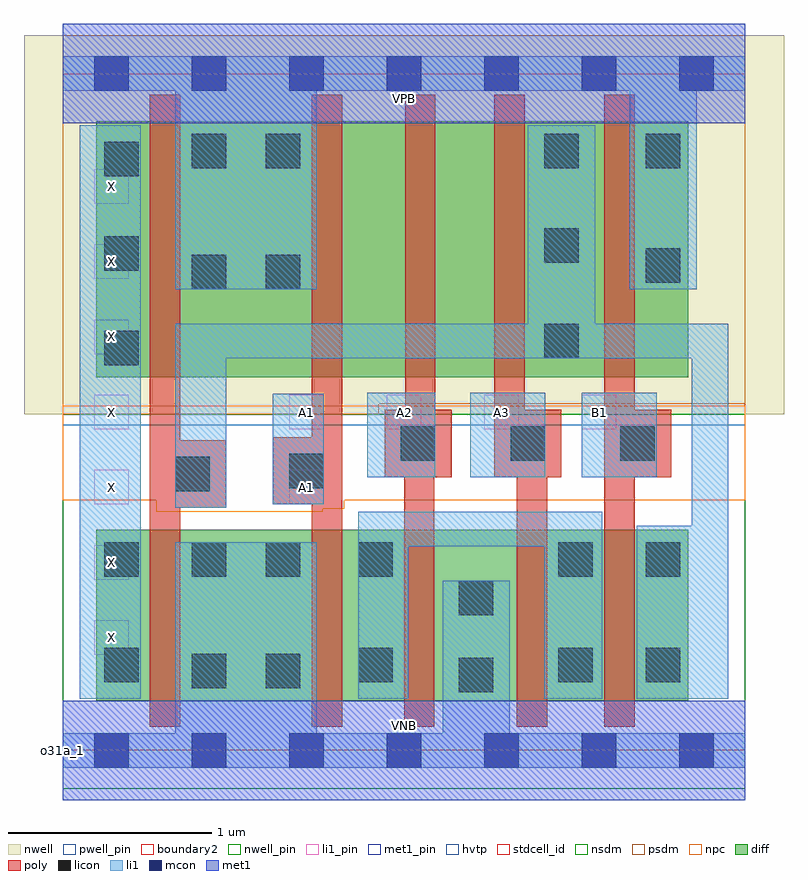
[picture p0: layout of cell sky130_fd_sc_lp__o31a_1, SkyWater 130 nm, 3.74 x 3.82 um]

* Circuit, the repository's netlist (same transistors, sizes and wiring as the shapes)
* Copyright 2020 The SkyWater PDK Authors
*
* Licensed under the Apache License, Version 2.0 (the "License");
* you may not use this file except in compliance with the License.
* You may obtain a copy of the License at
*
*     https://www.apache.org/licenses/LICENSE-2.0
*
* Unless required by applicable law or agreed to in writing, software
* distributed under the License is distributed on an "AS IS" BASIS,
* WITHOUT WARRANTIES OR CONDITIONS OF ANY KIND, either express or implied.
* See the License for the specific language governing permissions and
* limitations under the License.
*
* SPDX-License-Identifier: Apache-2.0

.SUBCKT sky130_fd_sc_lp__o31a_1 A1 A2 A3 B1 VGND VNB VPB VPWR X
*.PININFO A1:I A2:I A3:I B1:I VGND:I VNB:I VPB:I VPWR:I X:O
MMPA0 VPWR A1 sndA1 VPB sky130_fd_pr__pfet_01v8_hvt m=1 w=1.26U l=0.15U mult=1
+ sa=0.265 sb=0.265 sd=0.28 area=0.063 perim=1.14
MMPA1 sndA1 A2 sndA2 VPB sky130_fd_pr__pfet_01v8_hvt m=1 w=1.26U l=0.15U mult=1
+ sa=0.265 sb=0.265 sd=0.28 area=0.063 perim=1.14
MMPA2 sndA2 A3 y VPB sky130_fd_pr__pfet_01v8_hvt m=1 w=1.26U l=0.15U mult=1 sa=0.265
+ sb=0.265 sd=0.28 area=0.063 perim=1.14
MMPB0 VPWR B1 y VPB sky130_fd_pr__pfet_01v8_hvt m=1 w=1.26U l=0.15U mult=1 sa=0.265
+ sb=0.265 sd=0.28 area=0.063 perim=1.14
MMIPX X y VPWR VPB sky130_fd_pr__pfet_01v8_hvt m=1 w=1.26U l=0.15U mult=1 sa=0.265
+ sb=0.265 sd=0.28 area=0.063 perim=1.14
MMNA0 pndA A1 VGND VNB sky130_fd_pr__nfet_01v8 m=1 w=0.84U l=0.15U mult=1 sa=0.265
+ sb=0.265 sd=0.28 area=0.063 perim=1.14
MMNA1 pndA A2 VGND VNB sky130_fd_pr__nfet_01v8 m=1 w=0.84U l=0.15U mult=1 sa=0.265
+ sb=0.265 sd=0.28 area=0.063 perim=1.14
MMNA2 pndA A3 VGND VNB sky130_fd_pr__nfet_01v8 m=1 w=0.84U l=0.15U mult=1 sa=0.265
+ sb=0.265 sd=0.28 area=0.063 perim=1.14
MMNB0 y B1 pndA VNB sky130_fd_pr__nfet_01v8 m=1 w=0.84U l=0.15U mult=1 sa=0.265
+ sb=0.265 sd=0.28 area=0.063 perim=1.14
MMINX X y VGND VNB sky130_fd_pr__nfet_01v8 m=1 w=0.84U l=0.15U mult=1 sa=0.265
+ sb=0.265 sd=0.28 area=0.063 perim=1.14
.ENDS sky130_fd_sc_lp__o31a_1

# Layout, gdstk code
import gdstk
lib = gdstk.Library(unit=1e-6, precision=1e-09)
def R(c, l, rs):  # rectangles x0, y0, x1, y1
    for r in rs: c.add(gdstk.rectangle(r[:2], r[2:], *l))
def A(c, l, x, y, w, h, nx, ny, dx, dy):  # array of equal rectangles
    R(c, l, [(x+i*dx, y+j*dy, x+i*dx+w, y+j*dy+h) for i in range(nx) for j in range(ny)])
def P(c, l, *ps):  # polygons
    for p in ps: c.add(gdstk.Polygon(p, *l))
nwell_pin = (64, 16)
nwell = (64, 20)
diff = (65, 20)
poly = (66, 20)
licon = (66, 44)
li1_pin = (67, 16)
li1 = (67, 20)
mcon = (67, 44)
met1_pin = (68, 16)
met1 = (68, 20)
hvtp = (78, 44)
stdcell_id = (81, 4)
nsdm = (93, 44)
psdm = (94, 20)
npc = (95, 20)
pwell_pin = (122, 16)
boundary2 = (236, 0)

sky130_fd_sc_lp__o31a_1 = lib.new_cell('sky130_fd_sc_lp__o31a_1')
R(sky130_fd_sc_lp__o31a_1, nwell_pin, [(0,3.085,3.36,3.33)])
R(sky130_fd_sc_lp__o31a_1, nwell, [(-0.19,1.655,3.55,3.52)])
R(sky130_fd_sc_lp__o31a_1, diff, [(0.165,0.245,3.08,1.085), (0.165,1.835,3.08,3.095)])
P(sky130_fd_sc_lp__o31a_1, poly, [(1.375,3.225),(1.225,3.225),(1.225,1.54),(1.035,1.54),(1.035,1.21),(1.225,1.21),(1.225,0.115),(1.375,0.115)],
  [(0.805,1.525),(0.58,1.525),(0.58,3.225),(0.43,3.225),(0.43,0.115),(0.58,0.115),(0.58,1.195),(0.805,1.195)],
  [(2.455,1.675),(2.275,1.675),(2.275,3.225),(2.125,3.225),(2.125,1.345),(2.235,1.345),(2.235,0.115),(2.385,0.115),(2.385,1.345),(2.455,1.345)],
  [(2.995,1.675),(2.815,1.675),(2.815,3.225),(2.665,3.225),(2.665,0.115),(2.815,0.115),(2.815,1.345),(2.995,1.345)],
  [(1.915,1.675),(1.835,1.675),(1.835,3.225),(1.685,3.225),(1.685,1.675),(1.585,1.675),(1.585,1.345),(1.68,1.345),(1.68,0.115),(1.83,0.115),(1.83,1.345),(1.915,1.345)])
A(sky130_fd_sc_lp__o31a_1, licon, 1.665, 1.425, 0.17, 0.17, 3, 1, 0.54, 0)
A(sky130_fd_sc_lp__o31a_1, licon, 0.205, 1.895, 0.17, 0.17, 1, 3, 0, 0.465)
R(sky130_fd_sc_lp__o31a_1, licon, [(1.95,0.285,2.12,0.455), (0.635,0.305,0.805,0.475), (1,0.305,1.17,0.475), (0.205,0.335,0.375,0.505), (1.455,0.335,1.625,0.505), (2.44,0.335,2.61,0.505), (2.87,0.335,3.04,0.505), (1.95,0.665,2.12,0.835), (0.205,0.855,0.375,1.025), (0.635,0.855,0.805,1.025), (1,0.855,1.17,1.025), (1.455,0.855,1.625,1.025), (2.44,0.855,2.61,1.025), (2.87,0.855,3.04,1.025), (0.555,1.275,0.725,1.445), (1.115,1.29,1.285,1.46), (2.37,1.93,2.54,2.1), (0.635,2.27,0.805,2.44), (1,2.27,1.17,2.44), (2.87,2.3,3.04,2.47), (2.37,2.4,2.54,2.57), (0.635,2.865,0.805,3.035), (1,2.865,1.17,3.035), (2.37,2.865,2.54,3.035), (2.87,2.865,3.04,3.035)])
A(sky130_fd_sc_lp__o31a_1, li1_pin, 0.155, 0.47, 0.17, 0.17, 1, 7, 0, 0.37)
A(sky130_fd_sc_lp__o31a_1, li1_pin, 1.115, 1.58, 0.17, 0.17, 4, 1, 0.48, 0)
R(sky130_fd_sc_lp__o31a_1, li1_pin, [(1.115,1.21,1.285,1.38)])
R(sky130_fd_sc_lp__o31a_1, li1, [(0.085,0.255,0.385,3.075), (1.035,1.21,1.285,1.755), (1.5,1.345,1.835,1.76), (2.005,1.345,2.375,1.76), (2.555,1.345,2.925,1.76)])
P(sky130_fd_sc_lp__o31a_1, li1, [(3.36,3.415),(0,3.415),(0,3.245),(0.555,3.245),(0.555,2.27),(1.25,2.27),(1.25,3.245),(2.79,3.245),(2.79,2.27),(3.12,2.27),(3.12,3.245),(3.36,3.245)],
  [(3.275,2.1),(2.62,2.1),(2.62,3.075),(2.29,3.075),(2.29,2.1),(0.555,2.1),(0.555,1.195),(0.805,1.195),(0.805,1.93),(3.095,1.93),(3.095,1.105),(2.825,1.105),(2.825,0.255),(3.275,0.255)],
  [(2.655,1.175),(1.455,1.175),(1.455,0.255),(1.7,0.255),(1.7,1.005),(2.37,1.005),(2.37,0.255),(2.655,0.255)],
  [(3.36,0.085),(2.2,0.085),(2.2,0.835),(1.87,0.835),(1.87,0.085),(1.25,0.085),(1.25,1.025),(0.555,1.025),(0.555,0.085),(0,0.085),(0,-0.085),(3.36,-0.085)])
A(sky130_fd_sc_lp__o31a_1, mcon, 0.155, -0.085, 0.17, 0.17, 7, 2, 0.48, 3.33)
R(sky130_fd_sc_lp__o31a_1, met1_pin, [(0,0,3.36,0.245), (0,3.085,3.36,3.33)])
R(sky130_fd_sc_lp__o31a_1, met1, [(0,-0.245,3.36,0.245), (0,3.085,3.36,3.575)])
R(sky130_fd_sc_lp__o31a_1, hvtp, [(0,1.6,3.36,3.33)])
R(sky130_fd_sc_lp__o31a_1, stdcell_id, [(0,0,3.36,3.33)])
R(sky130_fd_sc_lp__o31a_1, nsdm, [(0,-0.19,3.36,1.655)])
P(sky130_fd_sc_lp__o31a_1, psdm, [(3.36,3.52),(0,3.52),(0,1.655),(1.555,1.655),(1.555,1.705),(3.36,1.705)])
P(sky130_fd_sc_lp__o31a_1, npc, [(3.36,1.695),(0,1.695),(0,1.23),(0.46,1.23),(0.46,1.175),(1.28,1.175),(1.28,1.19),(1.385,1.19),(1.385,1.23),(3.36,1.23)])
R(sky130_fd_sc_lp__o31a_1, pwell_pin, [(0,0,3.36,0.245)])
R(sky130_fd_sc_lp__o31a_1, boundary2, [(0,0,3.36,3.33)])
sky130_fd_sc_lp__o31a_1.add(gdstk.Label('VNB', (1.68,0.123), layer=64, texttype=59))
sky130_fd_sc_lp__o31a_1.add(gdstk.Label('VPB', (1.68,3.208), layer=64, texttype=5))
sky130_fd_sc_lp__o31a_1.add(gdstk.Label('o31a_1', (0,0), layer=83, texttype=44))
sky130_fd_sc_lp__o31a_1.add(gdstk.Label('VPWR', (1.68,3.208), layer=68, texttype=5))
sky130_fd_sc_lp__o31a_1.add(gdstk.Label('VGND', (1.68,0.123), layer=68, texttype=5))
sky130_fd_sc_lp__o31a_1.add(gdstk.Label('A1', (1.2,1.295), layer=67, texttype=5))
sky130_fd_sc_lp__o31a_1.add(gdstk.Label('A1', (1.2,1.665), layer=67, texttype=5))
sky130_fd_sc_lp__o31a_1.add(gdstk.Label('A2', (1.68,1.665), layer=67, texttype=5))
sky130_fd_sc_lp__o31a_1.add(gdstk.Label('A3', (2.16,1.665), layer=67, texttype=5))
sky130_fd_sc_lp__o31a_1.add(gdstk.Label('B1', (2.64,1.665), layer=67, texttype=5))
sky130_fd_sc_lp__o31a_1.add(gdstk.Label('X', (0.24,0.555), layer=67, texttype=5))
sky130_fd_sc_lp__o31a_1.add(gdstk.Label('X', (0.24,0.925), layer=67, texttype=5))
sky130_fd_sc_lp__o31a_1.add(gdstk.Label('X', (0.24,1.295), layer=67, texttype=5))
sky130_fd_sc_lp__o31a_1.add(gdstk.Label('X', (0.24,1.665), layer=67, texttype=5))
sky130_fd_sc_lp__o31a_1.add(gdstk.Label('X', (0.24,2.035), layer=67, texttype=5))
sky130_fd_sc_lp__o31a_1.add(gdstk.Label('X', (0.24,2.405), layer=67, texttype=5))
sky130_fd_sc_lp__o31a_1.add(gdstk.Label('X', (0.24,2.775), layer=67, texttype=5))

lib.write_gds('sky130_fd_sc_lp__o31a_1.gds')
